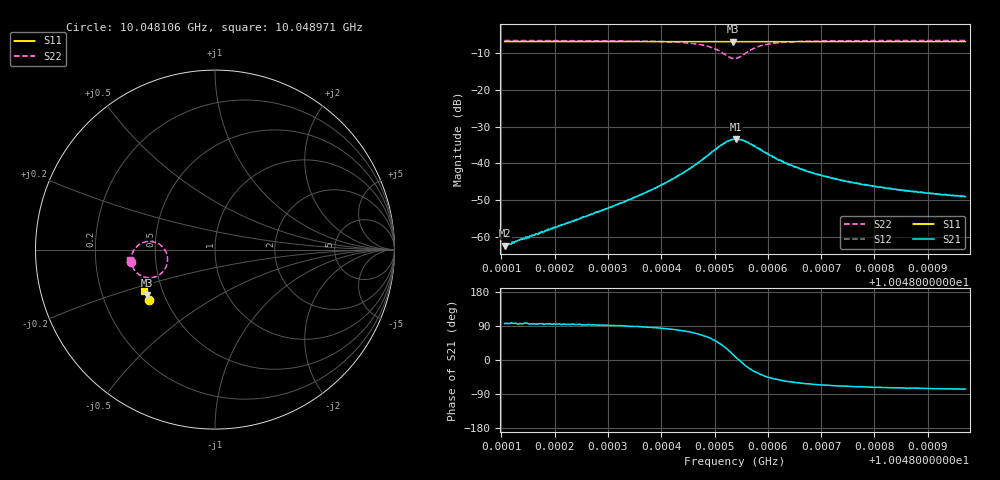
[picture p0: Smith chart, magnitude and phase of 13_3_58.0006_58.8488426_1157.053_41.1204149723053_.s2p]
#  HZ  S  RI  R  50.00
! Rohde & Schwarz Vector Network Analyzer
! Rohde-Schwarz,ZNB20-2Port,1311601062101988,3.16
! Created: UTC 3/21/2024, 12:50:52 AM
! freq[Hz]  re:S11  im:S11  re:S21  im:S21  re:S12  im:S12  re:S22  im:S22
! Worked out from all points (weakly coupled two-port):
!   401 points, 10.048106 GHz to 10.048971 GHz, reference 50 ohm
!   highest |S21| = -33.35 dB at 10.04854 GHz (marker M1); lowest = -62.4 dB at 10.048106 GHz (marker M2)
!   lowest |S11| = -6.8 dB at 10.048534 GHz (marker M3), VSWR 2.68, Z = 20.1 - j12.9 ohm
!   |S11| at or under -10 dB: nowhere
!   |S22| runs from -11.4 to -6.5 dB; largest |S21 - S12| = 0.0019
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1.00481061e10  -0.3657 -0.2782  -7.88e-05 0.000752  -0.000139 0.000729  -0.4677 -0.0718
1.00481839e10  -0.3688 -0.2739  -0.000111 0.00121  -0.000147 0.00122  -0.4681 -0.0625
1.00482509e10  -0.3714 -0.2701  -6.56e-05 0.00183  -0.000205 0.00178  -0.4676 -0.0523
1.00483287e10  -0.3742 -0.2656  -1.69e-05 0.00295  -0.000158 0.00296  -0.4656 -0.0363
1.00483957e10  -0.3767 -0.2619  0.000478 0.00489  0.000189 0.0049  -0.4584 -0.0145
1.0048441e10  -0.3784 -0.259  0.0017 0.00726  0.00127 0.00734  -0.4434 0.00942
1.00484799e10  -0.3793 -0.2564  0.00522 0.0106  0.00447 0.0107  -0.4062 0.0372
1.00484951e10  -0.3796 -0.2553  0.00822 0.0118  0.00734 0.0122  -0.3765 0.0451
1.00485102e10  -0.3797 -0.2544  0.0127 0.0119  0.0117 0.0125  -0.334 0.0406
1.00485232e10  -0.3795 -0.2538  0.0173 0.00973  0.0165 0.0108  -0.293 0.0153
1.0048534e10  -0.3796 -0.2534  0.0205 0.00543  0.0199 0.00705  -0.2687 -0.0256
1.00485383e10  -0.3796 -0.2535  0.0211 0.00342  0.0206 0.00516  -0.2648 -0.0453
1.00485405e10  -0.3797 -0.2534  0.0214 0.0024  0.0209 0.00424  -0.2643 -0.0555
1.00485513e10  -0.38 -0.2534  0.0207 -0.00252  0.0208 -0.000921  -0.276 -0.1027
1.00485642e10  -0.3806 -0.2532  0.0176 -0.00692  0.0183 -0.0055  -0.3098 -0.1401
1.00485794e10  -0.3815 -0.2528  0.0137 -0.00897  0.0143 -0.0081  -0.352 -0.1559
1.00485945e10  -0.3825 -0.2518  0.0104 -0.00957  0.0111 -0.00888  -0.3844 -0.1551
1.00486355e10  -0.3843 -0.2496  0.00546 -0.00824  0.00618 -0.00796  -0.4308 -0.1336
1.00486831e10  -0.3861 -0.2468  0.00328 -0.00666  0.00374 -0.00652  -0.4505 -0.1118
1.00487522e10  -0.3888 -0.2428  0.00196 -0.00524  0.0023 -0.00519  -0.4617 -0.0913
1.00488279e10  -0.3913 -0.2383  0.00132 -0.00432  0.00161 -0.00431  -0.4668 -0.0767
1.00489705e10  -0.396 -0.2298  0.000815 -0.00341  0.00103 -0.00338  -0.4708 -0.0578
